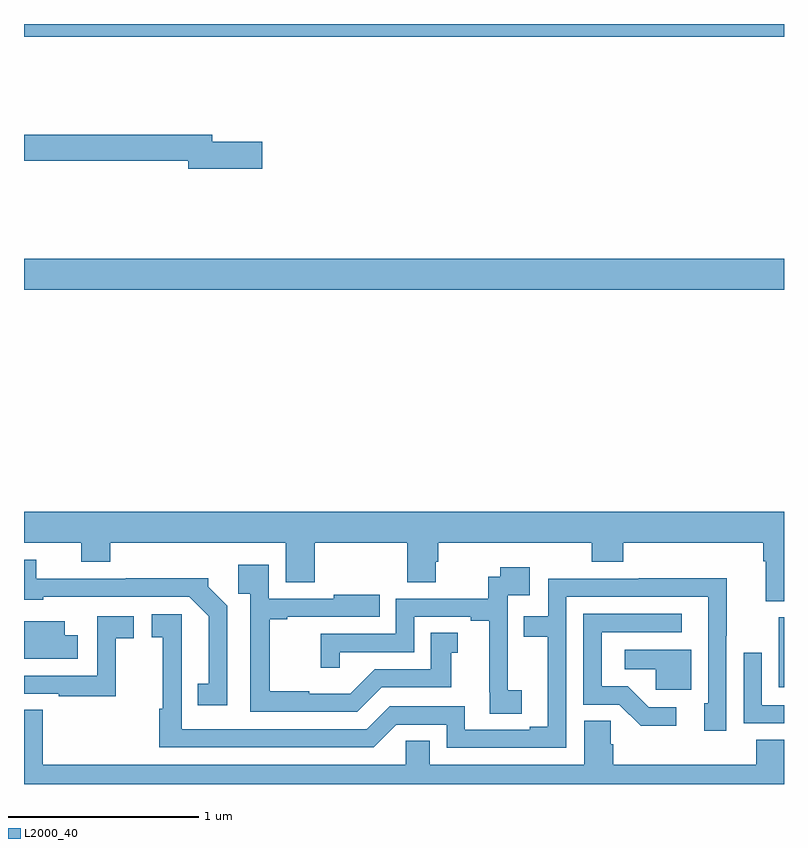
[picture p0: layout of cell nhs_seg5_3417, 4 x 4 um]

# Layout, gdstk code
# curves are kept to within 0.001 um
import gdstk
lib = gdstk.Library(unit=1e-6, precision=1e-09)
def R(c, l, rs):  # rectangles x0, y0, x1, y1
    for r in rs: c.add(gdstk.rectangle(r[:2], r[2:], *l))
def P(c, l, *ps):  # polygons
    for p in ps: c.add(gdstk.Polygon(p, *l))
L2000_40 = (2000, 40)

nhs_seg5_3417 = lib.new_cell('nhs_seg5_3417')
R(nhs_seg5_3417, L2000_40, [(314.972,881.309,315,881.676), (311,883.4,315,883.564), (311,884.732,315,884.799)])
P(nhs_seg5_3417, L2000_40, [(312.253,884.18),(311.992,884.18),(311.992,884.216),(311,884.216),(311,884.08),(311.864,884.08),(311.864,884.038),(312.253,884.038)],
  [(311,882.068),(311.3,882.068),(311.3,881.969),(311.453,881.969),(311.453,882.068),(312.377,882.068),(312.377,881.86),(312.53,881.86),(312.53,882.068),(313.016,882.068),(313.016,881.86),(313.168,881.86),(313.168,881.97),(313.181,881.97),(313.181,882.068),(313.988,882.068),(313.988,881.969),(314.153,881.969),(314.153,882.068),(314.891,882.068),(314.891,881.972),(314.903,881.972),(314.903,881.761),(315,881.761),(315,882.232),(311,882.232)],
  [(312.069,881.738),(311.97,881.837),(311.97,881.882),(311.536,881.882),(311.536,881.88),(311.064,881.88),(311.064,881.979),(311,881.979),(311,881.768),(311.1,881.768),(311.1,881.784),(311.871,881.784),(311.972,881.683),(311.972,881.327),(311.914,881.327),(311.914,881.214),(312.069,881.214)],
  [(312.882,881.307),(313.249,881.307),(313.249,881.491),(313.282,881.491),(313.282,881.594),(313.142,881.594),(313.142,881.403),(312.846,881.403),(312.718,881.275),(312.5,881.275),(312.5,881.287),(312.293,881.287),(312.293,881.667),(312.385,881.667),(312.385,881.679),(312.872,881.679),(312.872,881.794),(312.629,881.794),(312.629,881.775),(312.288,881.775),(312.288,881.953),(312.127,881.953),(312.127,881.801),(312.192,881.801),(312.192,881.178),(312.753,881.178)],
  [(313.621,881.292),(313.547,881.292),(313.547,881.489),(313.545,881.489),(313.545,881.793),(313.663,881.793),(313.663,881.941),(313.507,881.941),(313.507,881.889),(313.444,881.889),(313.444,881.775),(312.957,881.775),(312.957,881.589),(312.562,881.589),(312.562,881.412),(312.663,881.412),(312.663,881.493),(313.053,881.493),(313.053,881.679),(313.352,881.679),(313.352,881.659),(313.448,881.659),(313.448,881.281),(313.45,881.281),(313.45,881.17),(313.621,881.17)],
  [(313.854,881.784),(314.601,881.784),(314.601,881.223),(314.579,881.223),(314.579,881.079),(314.697,881.079),(314.697,881.578),(314.699,881.578),(314.699,881.882),(314.236,881.882),(314.236,881.88),(313.758,881.88),(313.758,881.682),(313.63,881.682),(313.63,881.574),(313.757,881.574),(313.757,881.1),(313.661,881.1),(313.661,881.085),(313.32,881.085),(313.32,881.208),(312.924,881.208),(312.804,881.088),(311.829,881.088),(311.83,881.692),(311.673,881.692),(311.673,881.571),(311.731,881.571),(311.731,881.195),(311.713,881.195),(311.713,880.992),(312.84,880.992),(312.96,881.112),(313.224,881.112),(313.224,880.989),(313.854,880.989)],
  [(314.434,881.202),(314.289,881.202),(314.178,881.313),(314.04,881.313),(314.04,881.598),(314.461,881.598),(314.461,881.694),(313.944,881.694),(313.944,881.217),(314.133,881.217),(314.246,881.105),(314.434,881.105)],
  [(311.484,881.566),(311.578,881.566),(311.578,881.682),(311.385,881.682),(311.385,881.37),(311,881.37),(311,881.274),(311.182,881.274),(311.182,881.262),(311.484,881.262)],
  [(311.284,881.581),(311.215,881.581),(311.215,881.656),(311,881.656),(311,881.459),(311.284,881.459)],
  [(314.512,881.506),(314.163,881.506),(314.163,881.402),(314.325,881.402),(314.325,881.295),(314.512,881.295)],
  [(315,881.214),(314.883,881.214),(314.883,881.491),(314.787,881.491),(314.787,881.118),(315,881.118)],
  [(311.099,881.189),(311,881.189),(311,880.799),(315,880.799),(315,881.033),(314.855,881.033),(314.855,880.9),(314.102,880.9),(314.102,881.009),(314.088,881.009),(314.088,881.132),(313.949,881.132),(313.949,880.9),(313.135,880.9),(313.135,881.027),(313.008,881.027),(313.008,880.9),(311.099,880.9)])

lib.write_gds('nhs_seg5_3417.gds')
